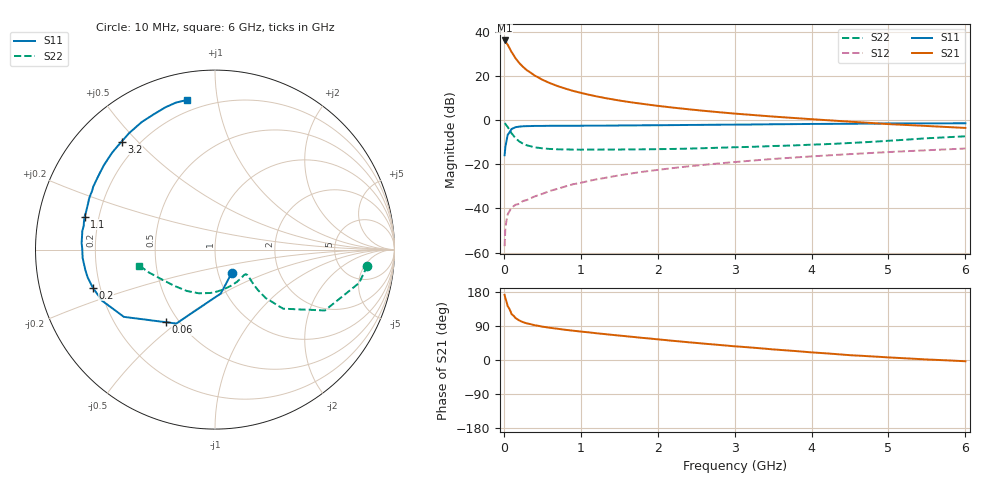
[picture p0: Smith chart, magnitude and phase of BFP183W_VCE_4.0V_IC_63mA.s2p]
! (c) 2017  Infineon Technologies AG, Munich
! Infineon Technologies  Discrete & RF Semiconductors
! BFP183W
! VCE =  4.0 V,  IC =  63 mA
! Common Emitter S-Parameters:  Jan 2017
# GHz  S  MA  R  50
!  f  S11  S21  S12  S22
! GHz  MAG  ANG  MAG  ANG  MAG  ANG  MAG  ANG
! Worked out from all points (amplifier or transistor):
!   77 points, 10 MHz to 6 GHz, reference 50 ohm
!   highest |S21| = 36.1 dB at 10 MHz (marker M1)
!   |S21| within 3 dB of that: start of sweep to 66.48 MHz
!   unconditionally stable (mu >= 1): start of sweep to 13.11 MHz; 371.1 MHz to 3.989 GHz; 4.086 GHz to 4.177 GHz
!   at 130 MHz: K = 0.56, MSG = 34.1 dB, |S12| = -38.9 dB
!   at 2.2 GHz: K = 1.18, MAG = 11.1 dB, |S12| = -21.7 dB
!   at 6 GHz: K = 0.93, MSG = 4.7 dB, |S12| = -12.9 dB
!   S11 on the Smith chart (normalised r, x): 10 MHz: 1.16, -0.31; 60 MHz: 0.43, -0.45; 200 MHz: 0.17, -0.15; 1.1 GHz: 0.15, +0.12; 3.2 GHz: 0.14, +0.45; 6 GHz: 0.14, +0.82
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0.01  0.1602 -54.5  63.67 171.9  0.0014 79.2  0.8538 -6.0
0.02  0.2468 -82.5  61.56 163.0  0.0036 85.7  0.8243 -13.0
0.05  0.4649 -117.6  50.94 142.0  0.0073 57.4  0.6998 -29.0
0.06  0.4885 -124.1  47.34 139.0  0.0079 56.6  0.6586 -30.8
0.1  0.6312 -143.6  34.86 121.4  0.0103 54.3  0.5032 -40.9
0.15  0.6905 -155.6  25.41 111.0  0.0121 46.2  0.3903 -43.7
0.2  0.7131 -162.7  19.69 104.4  0.0127 49.9  0.3298 -43.3
0.25  0.7264 -167.8  16.03 99.8  0.0148 49.6  0.2923 -42.2
0.3  0.7315 -171.2  13.46 96.6  0.0155 53.5  0.2686 -40.9
0.4  0.7391 -176.4  10.24 91.7  0.0187 56.3  0.2426 -39.0
0.5  0.7393 180.0  8.216 88.1  0.0214 59.6  0.2301 -38.2
0.6  0.7441 177.1  6.875 85.0  0.025 62.4  0.2224 -38.4
0.7  0.7443 174.5  5.895 82.4  0.0279 64.8  0.2182 -38.8
0.9  0.7434 169.8  4.591 77.3  0.0354 67.7  0.2151 -41.6
1.1  0.7495 165.8  3.779 73.0  0.0419 68.9  0.2154 -44.9
1.5  0.7561 158.3  2.782 64.5  0.0562 69.9  0.2158 -53.5
2.1  0.7687 147.6  2.011 52.6  0.0784 68.2  0.2212 -69.5
3.1  0.793 132.2  1.364 34.7  0.1162 62.7  0.2453 -99.2
3.2  0.7956 130.8  1.322 33.1  0.1201 62.1  0.248 -102.1
4.1  0.8207 118.7  1.023 18.8  0.1547 55.8  0.2821 -127.1
5.1  0.8408 108.3  0.797 5.8  0.1928 48.3  0.3493 -153.1
6  0.8481 100.5  0.665 -3.3  0.2277 41.0  0.4305 -167.9
